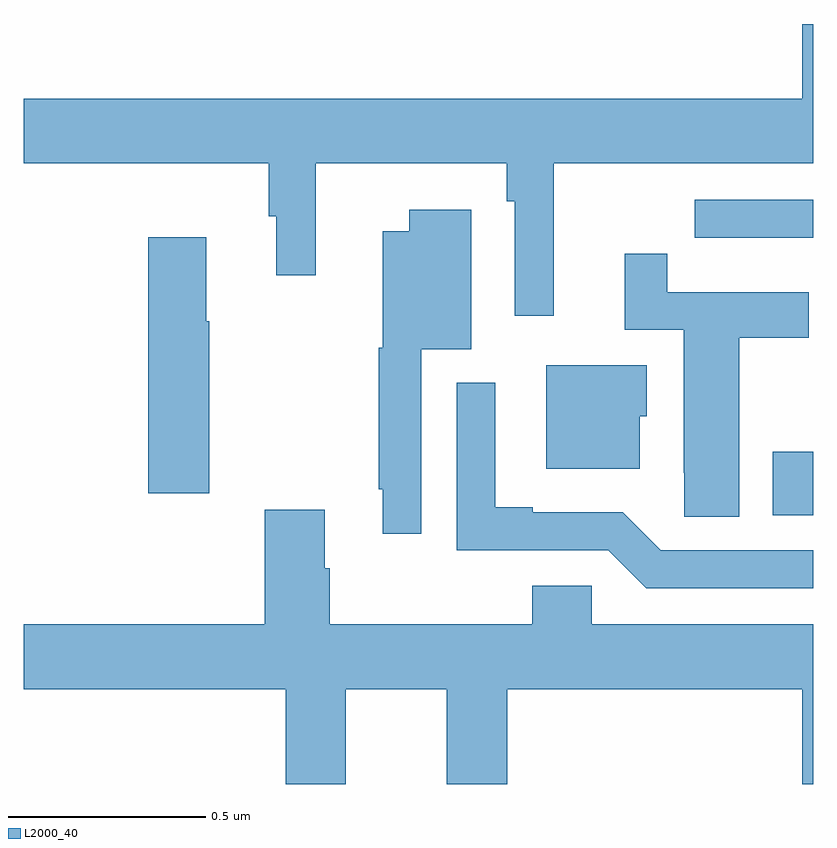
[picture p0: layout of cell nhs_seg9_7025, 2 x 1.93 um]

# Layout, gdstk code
import gdstk
lib = gdstk.Library(unit=1e-6, precision=1e-09)
def R(c, l, rs):  # rectangles x0, y0, x1, y1
    for r in rs: c.add(gdstk.rectangle(r[:2], r[2:], *l))
def P(c, l, *ps):  # polygons
    for p in ps: c.add(gdstk.Polygon(p, *l))
L2000_40 = (2000, 40)

nhs_seg9_7025 = lib.new_cell('nhs_seg9_7025')
R(nhs_seg9_7025, L2000_40, [(200.897,1210.181,201,1210.341)])
P(nhs_seg9_7025, L2000_40, [(200.342,1211.072),(201,1211.072),(201,1211.425),(200.972,1211.425),(200.972,1211.236),(199,1211.236),(199,1211.072),(199.621,1211.072),(199.621,1210.938),(199.64,1210.938),(199.64,1210.788),(199.74,1210.788),(199.74,1211.072),(200.224,1211.072),(200.224,1210.976),(200.244,1210.976),(200.244,1210.686),(200.342,1210.686)],
  [(200.978,1210.884),(201,1210.884),(201,1210.98),(200.7,1210.98),(200.7,1210.884),(200.812,1210.884),(200.812,1210.883),(200.978,1210.883)],
  [(200.007,1210.601),(200.134,1210.601),(200.134,1210.954),(199.976,1210.954),(199.976,1210.9),(199.91,1210.9),(199.91,1210.605),(199.899,1210.605),(199.899,1210.246),(199.91,1210.246),(199.91,1210.134),(200.007,1210.134)],
  [(199.47,1210.672),(199.462,1210.672),(199.462,1210.885),(199.316,1210.885),(199.316,1210.236),(199.47,1210.236)],
  [(200.812,1210.63),(200.989,1210.63),(200.989,1210.746),(200.63,1210.746),(200.63,1210.843),(200.522,1210.843),(200.522,1210.65),(200.672,1210.65),(200.672,1210.288),(200.673,1210.288),(200.673,1210.177),(200.812,1210.177)],
  [(200.56,1210.431),(200.578,1210.431),(200.578,1210.561),(200.324,1210.561),(200.324,1210.298),(200.56,1210.298)],
  [(201,1210.092),(200.613,1210.092),(200.517,1210.188),(200.29,1210.188),(200.29,1210.201),(200.194,1210.201),(200.194,1210.516),(200.097,1210.516),(200.097,1210.092),(200.481,1210.092),(200.577,1209.996),(201,1209.996)],
  [(199.664,1209.5),(199.816,1209.5),(199.816,1209.74),(200.072,1209.74),(200.072,1209.5),(200.225,1209.5),(200.225,1209.74),(200.972,1209.74),(200.972,1209.5),(201,1209.5),(201,1209.904),(200.439,1209.904),(200.439,1210.002),(200.288,1210.002),(200.288,1209.904),(199.775,1209.904),(199.775,1210.046),(199.762,1210.046),(199.762,1210.195),(199.61,1210.195),(199.61,1209.904),(199,1209.904),(199,1209.74),(199.664,1209.74)])

lib.write_gds('nhs_seg9_7025.gds')
